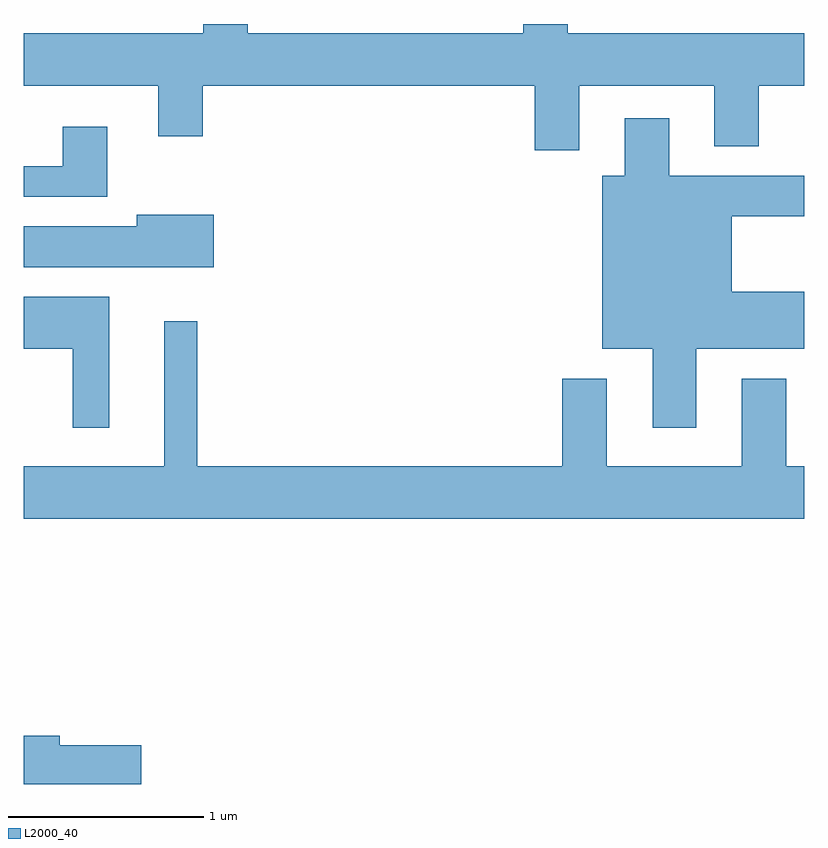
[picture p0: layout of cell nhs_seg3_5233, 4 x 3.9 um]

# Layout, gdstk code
import gdstk
lib = gdstk.Library(unit=1e-6, precision=1e-09)
def P(c, l, *ps):  # polygons
    for p in ps: c.add(gdstk.Polygon(p, *l))
L2000_40 = (2000, 40)

nhs_seg3_5233 = lib.new_cell('nhs_seg3_5233')
P(nhs_seg3_5233, L2000_40, [(342.459,1121.576),(343.151,1121.576),(343.151,1121.266),(343.379,1121.266),(343.379,1121.576),(343.611,1121.576),(343.611,1121.844),(342.399,1121.844),(342.399,1121.892),(342.171,1121.892),(342.171,1121.844),(340.759,1121.844),(340.759,1121.892),(340.531,1121.892),(340.531,1121.844),(339.611,1121.844),(339.611,1121.576),(340.301,1121.576),(340.301,1121.316),(340.529,1121.316),(340.529,1121.576),(342.231,1121.576),(342.231,1121.246),(342.459,1121.246)],
  [(343.059,1120.226),(343.611,1120.226),(343.611,1120.519),(343.239,1120.519),(343.239,1120.906),(343.611,1120.906),(343.611,1121.114),(342.919,1121.114),(342.919,1121.409),(342.691,1121.409),(342.691,1121.114),(342.576,1121.114),(342.576,1120.226),(342.836,1120.226),(342.836,1119.821),(343.059,1119.821)],
  [(340.039,1121.364),(339.811,1121.364),(339.811,1121.164),(339.611,1121.164),(339.611,1121.006),(340.039,1121.006)],
  [(340.584,1120.914),(340.191,1120.914),(340.191,1120.854),(339.611,1120.854),(339.611,1120.646),(340.584,1120.646)],
  [(340.049,1120.494),(339.611,1120.494),(339.611,1120.226),(339.861,1120.226),(339.861,1119.821),(340.049,1119.821)],
  [(343.611,1119.624),(343.519,1119.624),(343.519,1120.074),(343.291,1120.074),(343.291,1119.624),(342.599,1119.624),(342.599,1120.074),(342.371,1120.074),(342.371,1119.624),(340.499,1119.624),(340.499,1120.368),(340.331,1120.368),(340.331,1119.624),(339.611,1119.624),(339.611,1119.356),(343.611,1119.356)],
  [(340.214,1118.194),(339.794,1118.194),(339.794,1118.244),(339.611,1118.244),(339.611,1117.996),(340.214,1117.996)])

lib.write_gds('nhs_seg3_5233.gds')
